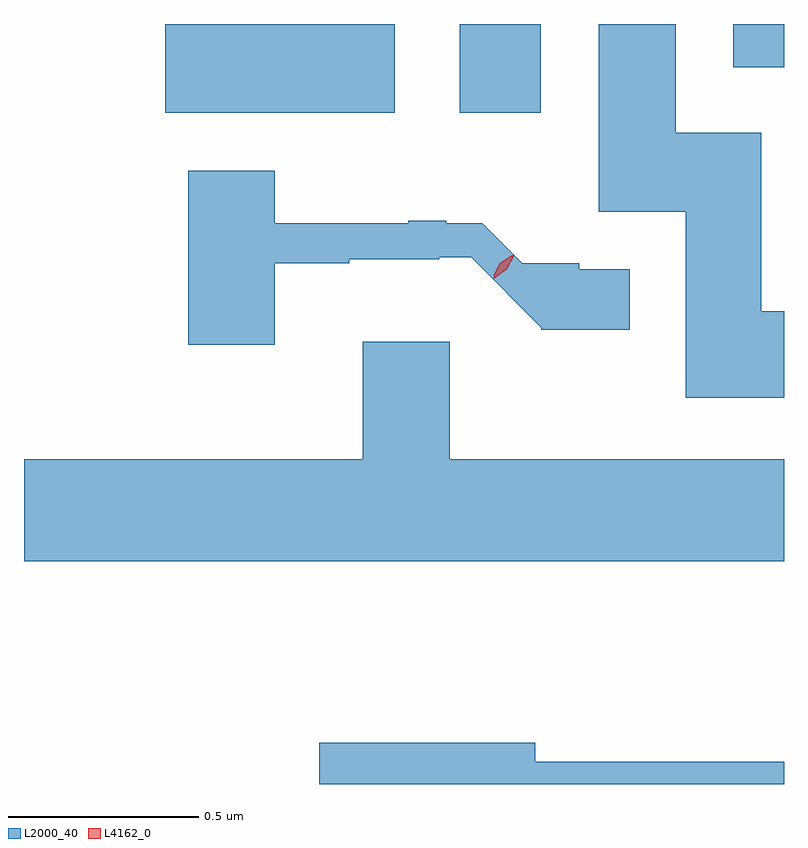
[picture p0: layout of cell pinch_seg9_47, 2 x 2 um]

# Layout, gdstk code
import gdstk
lib = gdstk.Library(unit=1e-6, precision=1e-09)
def R(c, l, rs):  # rectangles x0, y0, x1, y1
    for r in rs: c.add(gdstk.rectangle(r[:2], r[2:], *l))
def P(c, l, *ps):  # polygons
    for p in ps: c.add(gdstk.Polygon(p, *l))
L2000_40 = (2000, 40)
L4162_0 = (4162, 0)

pinch_seg9_47 = lib.new_cell('pinch_seg9_47')
R(pinch_seg9_47, L2000_40, [(638.541,2048.496,639.144,2048.73), (639.316,2048.496,639.529,2048.73), (640.036,2048.616,640.169,2048.73)])
P(pinch_seg9_47, L2000_40, [(640.169,2047.974),(640.109,2047.974),(640.109,2048.444),(639.884,2048.444),(639.884,2048.73),(639.681,2048.73),(639.681,2048.236),(639.911,2048.236),(639.911,2047.746),(640.169,2047.746)],
  [(638.829,2048.101),(639.025,2048.101),(639.025,2048.111),(639.262,2048.111),(639.262,2048.116),(639.346,2048.116),(639.53,2047.931),(639.53,2047.926),(639.763,2047.926),(639.763,2048.084),(639.63,2048.084),(639.63,2048.1),(639.48,2048.1),(639.375,2048.206),(639.28,2048.206),(639.28,2048.212),(639.18,2048.212),(639.18,2048.206),(638.829,2048.206),(638.829,2048.344),(638.601,2048.344),(638.601,2047.886),(638.829,2047.886)],
  [(640.169,2047.584),(639.289,2047.584),(639.289,2047.894),(639.061,2047.894),(639.061,2047.584),(638.169,2047.584),(638.169,2047.316),(640.169,2047.316)],
  [(640.169,2046.789),(639.514,2046.789),(639.514,2046.839),(638.946,2046.839),(638.946,2046.73),(640.169,2046.73)])
P(pinch_seg9_47, L4162_0, [(639.404,2048.059),(639.404,2048.06),(639.424,2048.098),(639.458,2048.123),(639.459,2048.123),(639.459,2048.122),(639.44,2048.084),(639.405,2048.059)],
  [(639.405,2048.067),(639.405,2048.068),(639.421,2048.1),(639.451,2048.12),(639.452,2048.12),(639.452,2048.12),(639.436,2048.087),(639.406,2048.067)])

lib.write_gds('pinch_seg9_47.gds')
